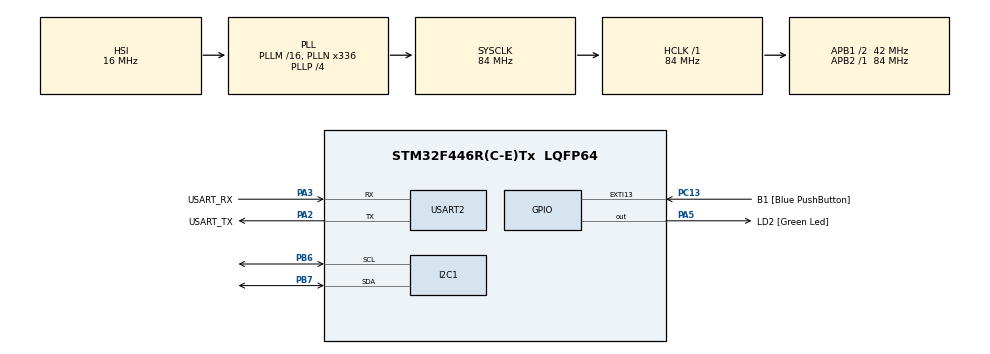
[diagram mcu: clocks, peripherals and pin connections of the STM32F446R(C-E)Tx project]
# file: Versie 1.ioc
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Mcu.Family=STM32F4
Mcu.Name=STM32F446R(C-E)Tx
Mcu.Package=LQFP64
NVIC.PriorityGroup=NVIC_PRIORITYGROUP_0
PA13.GPIO_Label=TMS
PA13.Mode=Serial_Wire
PA13.Signal=SYS_JTMS-SWDIO
PA14.GPIO_Label=TCK
PA14.Mode=Serial_Wire
PA14.Signal=SYS_JTCK-SWCLK
PA2.GPIO_Label=USART_TX
PA2.Mode=Asynchronous
PA2.Signal=USART2_TX
PA3.GPIO_Label=USART_RX
PA3.Mode=Asynchronous
PA3.Signal=USART2_RX
PA5.GPIO_Label=LD2 [Green Led]
PA5.Signal=GPIO_Output
PB3.GPIO_Label=SWO
PB3.Signal=SYS_JTDO-SWO
PB6.Mode=I2C
PB6.Signal=I2C1_SCL
PB7.Mode=I2C
PB7.Signal=I2C1_SDA
PC13.GPIO_Label=B1 [Blue PushButton]
PC13.GPIO_ModeDefaultEXTI=GPIO_MODE_IT_FALLING
PC13.Signal=GPXTI13
PC14-OSC32_IN.Mode=LSE-External-Oscillator
PC14-OSC32_IN.Signal=RCC_OSC32_IN
PC15-OSC32_OUT.Mode=LSE-External-Oscillator
PC15-OSC32_OUT.Signal=RCC_OSC32_OUT
PH0-OSC_IN.Mode=HSE-External-Oscillator
PH0-OSC_IN.Signal=RCC_OSC_IN
PH1-OSC_OUT.Mode=HSE-External-Oscillator
PH1-OSC_OUT.Signal=RCC_OSC_OUT
ProjectManager.HeapSize=0x200
ProjectManager.StackSize=0x400
ProjectManager.TargetToolchain=STM32CubeIDE
RCC.48MHZClocksFreq_Value=84000000
RCC.AHBFreq_Value=84000000
RCC.APB1CLKDivider=RCC_HCLK_DIV2
RCC.APB1Freq_Value=42000000
RCC.APB1TimFreq_Value=84000000
RCC.APB2Freq_Value=84000000
RCC.APB2TimFreq_Value=84000000
RCC.CortexFreq_Value=84000000
RCC.FLatency-AdvancedSettings=FLASH_LATENCY_2
RCC.HCLKFreq_Value=84000000
RCC.HSE_VALUE=8000000
RCC.HSI_VALUE=16000000
RCC.PLLN=336
RCC.PLLP=RCC_PLLP_DIV4
RCC.SYSCLKFreq_VALUE=84000000
RCC.SYSCLKSource=RCC_SYSCLKSOURCE_PLLCLK
RCC.USBFreq_Value=168000000
RCC.VCOOutputFreq_Value=336000000
USART2.VirtualMode=VM_ASYNC
board=NUCLEO-F446RE

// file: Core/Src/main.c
/* USER CODE BEGIN Header */
/**
  ******************************************************************************
  * @file           : main.c
  * @brief          : Main program body
  ******************************************************************************
  * @attention
  *
  * Copyright (c) 2024 STMicroelectronics.
  * All rights reserved.
  *
  * This software is licensed under terms that can be found in the LICENSE file
  * in the root directory of this software component.
  * If no LICENSE file comes with this software, it is provided AS-IS.
  *
  ******************************************************************************
  */
/* USER CODE END Header */
#include "main.h"
#include <string.h>
#include <stdio.h>

I2C_HandleTypeDef hi2c1;

UART_HandleTypeDef huart2;

/* USER CODE BEGIN PV */
static const uint8_t TMP102_ADDR = 0x48 << 1;
static const uint8_t REG_TEMP = 0x00;
/* USER CODE END PV */

void SystemClock_Config(void);
static void MX_GPIO_Init(void);
static void MX_USART2_UART_Init(void);
static void MX_I2C1_Init(void);

int main(void)
{
  /* USER CODE BEGIN 1 */
	HAL_StatusTypeDef ret;
	uint8_t buf[12];
	int16_t val;
	float temp_c;
  /* USER CODE END 1 */

  /* MCU Configuration--------------------------------------------------------*/

  /* Reset of all peripherals, Initializes the Flash interface and the Systick. */
  HAL_Init();

  /* Configure the system clock */
  SystemClock_Config();

  /* Initialize all configured peripherals */
  MX_GPIO_Init();
  MX_USART2_UART_Init();
  MX_I2C1_Init();

  /* Infinite loop */
  /* USER CODE BEGIN WHILE */
  while (1)
  {
	  buf[0] = REG_TEMP;
	  ret = HAL_I2C_Master_Transmit(&hi2c1, TMP102_ADDR, buf, 1, HAL_MAX_DELAY);
	  if(ret!=HAL_OK){
		  strcpy((char*)buf, "Error TX\r\n");
	  } else {
		  ret = HAL_I2C_Master_Receive(&hi2c1, TMP102_ADDR, buf, 2, HAL_MAX_DELAY);
		  if(ret!=HAL_OK){
		  strcpy((char*)buf, "Error TX\r\n");
		  } else {

			  val = ((int16_t)buf[0]<< 4) | (buf[1] >> 4);

			  if (val > 0x7FF){
				  val |= 0xF000;
			  }
			  temp_c = val*0.0625;
			  temp_c *=100;
			  sprintf((char*)buf,"%u.%02u C\r\n",((unsigned int)temp_c/100),((unsigned int)temp_c%100));
		  }
	  }
//	  strcpy((char*)buf, "Hello!\r\n");
	  HAL_UART_Transmit(&huart2, buf, strlen((char*)buf), HAL_MAX_DELAY);
	  HAL_Delay(500);
    /* USER CODE END WHILE */

  }
}

void SystemClock_Config(void)
{
  RCC_OscInitTypeDef RCC_OscInitStruct = {0};
  RCC_ClkInitTypeDef RCC_ClkInitStruct = {0};

  /** Configure the main internal regulator output voltage
  */
  __HAL_RCC_PWR_CLK_ENABLE();
  __HAL_PWR_VOLTAGESCALING_CONFIG(PWR_REGULATOR_VOLTAGE_SCALE3);

  /** Initializes the RCC Oscillators according to the specified parameters
  * in the RCC_OscInitTypeDef structure.
  */
  RCC_OscInitStruct.OscillatorType = RCC_OSCILLATORTYPE_HSI;
  RCC_OscInitStruct.HSIState = RCC_HSI_ON;
  RCC_OscInitStruct.HSICalibrationValue = RCC_HSICALIBRATION_DEFAULT;
  RCC_OscInitStruct.PLL.PLLState = RCC_PLL_ON;
  RCC_OscInitStruct.PLL.PLLSource = RCC_PLLSOURCE_HSI;
  RCC_OscInitStruct.PLL.PLLM = 16;
  RCC_OscInitStruct.PLL.PLLN = 336;
  RCC_OscInitStruct.PLL.PLLP = RCC_PLLP_DIV4;
  RCC_OscInitStruct.PLL.PLLQ = 2;
  RCC_OscInitStruct.PLL.PLLR = 2;
  if (HAL_RCC_OscConfig(&RCC_OscInitStruct) != HAL_OK)
  {
    Error_Handler();
  }

  /** Initializes the CPU, AHB and APB buses clocks
  */
  RCC_ClkInitStruct.ClockType = RCC_CLOCKTYPE_HCLK|RCC_CLOCKTYPE_SYSCLK
                              |RCC_CLOCKTYPE_PCLK1|RCC_CLOCKTYPE_PCLK2;
  RCC_ClkInitStruct.SYSCLKSource = RCC_SYSCLKSOURCE_PLLCLK;
  RCC_ClkInitStruct.AHBCLKDivider = RCC_SYSCLK_DIV1;
  RCC_ClkInitStruct.APB1CLKDivider = RCC_HCLK_DIV2;
  RCC_ClkInitStruct.APB2CLKDivider = RCC_HCLK_DIV1;

  if (HAL_RCC_ClockConfig(&RCC_ClkInitStruct, FLASH_LATENCY_2) != HAL_OK)
  {
    Error_Handler();
  }
}

static void MX_I2C1_Init(void)
{

  hi2c1.Instance = I2C1;
  hi2c1.Init.ClockSpeed = 100000;
  hi2c1.Init.DutyCycle = I2C_DUTYCYCLE_2;
  hi2c1.Init.OwnAddress1 = 0;
  hi2c1.Init.AddressingMode = I2C_ADDRESSINGMODE_7BIT;
  hi2c1.Init.DualAddressMode = I2C_DUALADDRESS_DISABLE;
  hi2c1.Init.OwnAddress2 = 0;
  hi2c1.Init.GeneralCallMode = I2C_GENERALCALL_DISABLE;
  hi2c1.Init.NoStretchMode = I2C_NOSTRETCH_DISABLE;
  if (HAL_I2C_Init(&hi2c1) != HAL_OK)
  {
    Error_Handler();
  }

}

static void MX_USART2_UART_Init(void)
{

  huart2.Instance = USART2;
  huart2.Init.BaudRate = 115200;
  huart2.Init.WordLength = UART_WORDLENGTH_8B;
  huart2.Init.StopBits = UART_STOPBITS_1;
  huart2.Init.Parity = UART_PARITY_NONE;
  huart2.Init.Mode = UART_MODE_TX_RX;
  huart2.Init.HwFlowCtl = UART_HWCONTROL_NONE;
  huart2.Init.OverSampling = UART_OVERSAMPLING_16;
  if (HAL_UART_Init(&huart2) != HAL_OK)
  {
    Error_Handler();
  }

}

static void MX_GPIO_Init(void)
{
  GPIO_InitTypeDef GPIO_InitStruct = {0};

  /* GPIO Ports Clock Enable */
  __HAL_RCC_GPIOC_CLK_ENABLE();
  __HAL_RCC_GPIOH_CLK_ENABLE();
  __HAL_RCC_GPIOA_CLK_ENABLE();
  __HAL_RCC_GPIOB_CLK_ENABLE();

  /*Configure GPIO pin Output Level */
  HAL_GPIO_WritePin(LD2_GPIO_Port, LD2_Pin, GPIO_PIN_RESET);

  /*Configure GPIO pin : B1_Pin */
  GPIO_InitStruct.Pin = B1_Pin;
  GPIO_InitStruct.Mode = GPIO_MODE_IT_FALLING;
  GPIO_InitStruct.Pull = GPIO_NOPULL;
  HAL_GPIO_Init(B1_GPIO_Port, &GPIO_InitStruct);

  /*Configure GPIO pin : LD2_Pin */
  GPIO_InitStruct.Pin = LD2_Pin;
  GPIO_InitStruct.Mode = GPIO_MODE_OUTPUT_PP;
  GPIO_InitStruct.Pull = GPIO_NOPULL;
  GPIO_InitStruct.Speed = GPIO_SPEED_FREQ_LOW;
  HAL_GPIO_Init(LD2_GPIO_Port, &GPIO_InitStruct);

}

void Error_Handler(void)
{
  __disable_irq();
  while (1)
  {
  }
}
